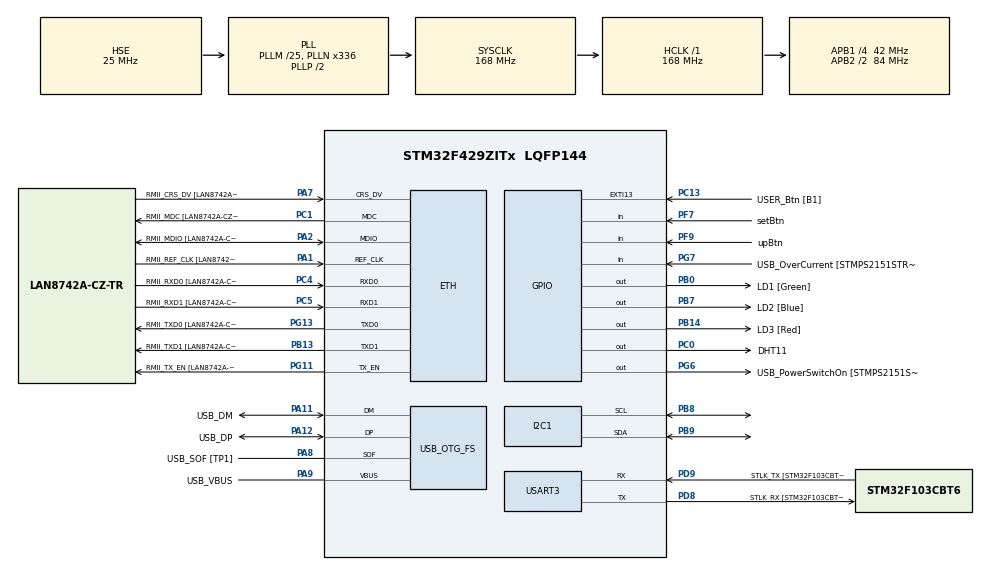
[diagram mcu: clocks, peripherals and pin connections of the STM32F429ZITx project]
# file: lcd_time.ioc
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ETH.MediaInterface=HAL_ETH_RMII_MODE
ETH.PHY_Name=LAN8742A_PHY_ADDRESS
ETH.PHY_Value=0
ETH.PhyAddress=0
Mcu.Family=STM32F4
Mcu.Name=STM32F429ZITx
Mcu.Package=LQFP144
NVIC.PriorityGroup=NVIC_PRIORITYGROUP_4
NVIC.RTC_Alarm_IRQn=true\:0\:0\:false\:true\:true\:1\:true\:true\:true
NVIC.TIM2_IRQn=true\:0\:0\:false\:true\:true\:2\:true\:true\:true
PA1.GPIO_Label=RMII_REF_CLK [LAN8742A-CZ-TR_REFCLK0]
PA1.Mode=RMII
PA1.Signal=ETH_REF_CLK
PA10.GPIO_Label=USB_ID
PA10.Signal=USB_OTG_FS_ID
PA11.GPIO_Label=USB_DM
PA11.Mode=Device_Only
PA11.Signal=USB_OTG_FS_DM
PA12.GPIO_Label=USB_DP
PA12.Mode=Device_Only
PA12.Signal=USB_OTG_FS_DP
PA13.GPIO_Label=TMS
PA13.Mode=Serial_Wire
PA13.Signal=SYS_JTMS-SWDIO
PA14.GPIO_Label=TCK
PA14.Mode=Serial_Wire
PA14.Signal=SYS_JTCK-SWCLK
PA2.GPIO_Label=RMII_MDIO [LAN8742A-CZ-TR_MDIO]
PA2.Mode=RMII
PA2.Signal=ETH_MDIO
PA7.GPIO_Label=RMII_CRS_DV [LAN8742A-CZ-TR_CRS_DV]
PA7.Mode=RMII
PA7.Signal=ETH_CRS_DV
PA8.GPIO_Label=USB_SOF [TP1]
PA8.Mode=Activate_SOF_FS
PA8.Signal=USB_OTG_FS_SOF
PA9.GPIO_Label=USB_VBUS
PA9.Mode=Activate_VBUS
PA9.Signal=USB_OTG_FS_VBUS
PB0.GPIO_Label=LD1 [Green]
PB0.Signal=GPIO_Output
PB13.GPIO_Label=RMII_TXD1 [LAN8742A-CZ-TR_TXD1]
PB13.Mode=RMII
PB13.Signal=ETH_TXD1
PB14.GPIO_Label=LD3 [Red]
PB14.Signal=GPIO_Output
PB7.GPIO_Label=LD2 [Blue]
PB7.Signal=GPIO_Output
PB8.Mode=I2C
PB8.Signal=I2C1_SCL
PB9.Mode=I2C
PB9.Signal=I2C1_SDA
PC0.GPIO_Label=DHT11
PC0.GPIO_Speed=GPIO_SPEED_FREQ_LOW
PC0.PinState=GPIO_PIN_SET
PC0.Signal=GPIO_Output
PC1.GPIO_Label=RMII_MDC [LAN8742A-CZ-TR_MDC]
PC1.Mode=RMII
PC1.Signal=ETH_MDC
PC13.GPIO_Label=USER_Btn [B1]
PC13.Signal=GPXTI13
PC14/OSC32_IN.Mode=LSE-External-Oscillator
PC14/OSC32_IN.Signal=RCC_OSC32_IN
PC15/OSC32_OUT.Mode=LSE-External-Oscillator
PC15/OSC32_OUT.Signal=RCC_OSC32_OUT
PC4.GPIO_Label=RMII_RXD0 [LAN8742A-CZ-TR_RXD0]
PC4.Mode=RMII
PC4.Signal=ETH_RXD0
PC5.GPIO_Label=RMII_RXD1 [LAN8742A-CZ-TR_RXD1]
PC5.Mode=RMII
PC5.Signal=ETH_RXD1
PD8.GPIO_Label=STLK_RX [STM32F103CBT6_PA3]
PD8.Mode=Asynchronous
PD8.Signal=USART3_TX
PD9.GPIO_Label=STLK_TX [STM32F103CBT6_PA2]
PD9.Mode=Asynchronous
PD9.Signal=USART3_RX
PF7.GPIO_Label=setBtn
PF7.GPIO_PuPd=GPIO_PULLUP
PF7.Signal=GPIO_Input
PF9.GPIO_Label=upBtn
PF9.GPIO_PuPd=GPIO_PULLUP
PF9.Signal=GPIO_Input
PG11.GPIO_Label=RMII_TX_EN [LAN8742A-CZ-TR_TXEN]
PG11.Mode=RMII
PG11.Signal=ETH_TX_EN
PG13.GPIO_Label=RMII_TXD0 [LAN8742A-CZ-TR_TXD0]
PG13.Mode=RMII
PG13.Signal=ETH_TXD0
PG6.GPIO_Label=USB_PowerSwitchOn [STMPS2151STR_EN]
PG6.Signal=GPIO_Output
PG7.GPIO_Label=USB_OverCurrent [STMPS2151STR_FAULT]
PG7.Signal=GPIO_Input
PH0/OSC_IN.GPIO_Label=MCO [STM32F103CBT6_PA8]
PH0/OSC_IN.Mode=HSE-External-Clock-Source
PH0/OSC_IN.Signal=RCC_OSC_IN
PH1/OSC_OUT.Mode=HSE-External-Clock-Source
PH1/OSC_OUT.Signal=RCC_OSC_OUT
ProjectManager.HeapSize=0x200
ProjectManager.StackSize=0x400
ProjectManager.TargetToolchain=STM32CubeIDE
RCC.48MHZClocksFreq_Value=48000000
RCC.AHBFreq_Value=168000000
RCC.APB1CLKDivider=RCC_HCLK_DIV4
RCC.APB1Freq_Value=42000000
RCC.APB1TimFreq_Value=84000000
RCC.APB2CLKDivider=RCC_HCLK_DIV2
RCC.APB2Freq_Value=84000000
RCC.APB2TimFreq_Value=168000000
RCC.CortexFreq_Value=168000000
RCC.HCLKFreq_Value=168000000
RCC.HSE_VALUE=25000000
RCC.HSI_VALUE=16000000
RCC.PLLM=25
RCC.PLLMUL=RCC_PLL_MUL9
RCC.PLLN=336
RCC.PLLQ=7
RCC.PRESCALERUSB=RCC_USBCLKSOURCE_PLL_DIV1_5
RCC.RCC_RTC_Clock_Source=RCC_RTCCLKSOURCE_LSE
RCC.RCC_RTC_Clock_SourceVirtual=RCC_RTCCLKSOURCE_LSE
RCC.SYSCLKFreq_VALUE=168000000
RCC.SYSCLKSource=RCC_SYSCLKSOURCE_PLLCLK
RCC.SYSCLKSourceVirtual=RCC_SYSCLKSOURCE_PLLCLK
RCC.USBFreq_Value=48000000
RCC.VCOOutputFreq_Value=336000000
RTC.Alarm=RTC_ALARM_A
RTC.HourFormat=RTC_HOURFORMAT_12
RTC.Hours=12
RTC.TimeFormat=RTC_HOURFORMAT12_PM
RTC.Year=23
TIM1.Period=0xffff-1
TIM1.Prescaler=168-1
TIM2.Period=50000-1
TIM2.Prescaler=8400-1
USART3.VirtualMode=VM_ASYNC
USB_OTG_FS.VirtualMode=Device_Only
VP_RTC_VS_RTC_Activate.Mode=RTC_Enabled
VP_RTC_VS_RTC_Alarm_A_Intern.Mode=Alarm A
VP_RTC_VS_RTC_Calendar.Mode=RTC_Calendar
VP_TIM1_VS_ClockSourceINT.Mode=Internal
VP_TIM2_VS_ClockSourceINT.Mode=Internal
board=NUCLEO-F429ZI

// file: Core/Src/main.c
/* USER CODE BEGIN Header */
/**
  ******************************************************************************
  * @file           : main.c
  * @brief          : Main program body
  ******************************************************************************
  * @attention
  *
  * Copyright (c) 2023 STMicroelectronics.
  * All rights reserved.
  *
  * This software is licensed under terms that can be found in the LICENSE file
  * in the root directory of this software component.
  * If no LICENSE file comes with this software, it is provided AS-IS.
  *
  ******************************************************************************
  */
/* USER CODE END Header */
#include "main.h"
#include "string.h"

/* USER CODE BEGIN Includes */
#include "stdio.h"
#include "string.h"
/* USER CODE END Includes */

ETH_TxPacketConfig TxConfig;
ETH_DMADescTypeDef  DMARxDscrTab[ETH_RX_DESC_CNT]; /* Ethernet Rx DMA Descriptors */
ETH_DMADescTypeDef  DMATxDscrTab[ETH_TX_DESC_CNT]; /* Ethernet Tx DMA Descriptors */

ETH_HandleTypeDef heth;

I2C_HandleTypeDef hi2c1;

RTC_HandleTypeDef hrtc;

TIM_HandleTypeDef htim1;
TIM_HandleTypeDef htim2;

UART_HandleTypeDef huart3;

PCD_HandleTypeDef hpcd_USB_OTG_FS;

/* USER CODE BEGIN PV */
RTC_DateTypeDef sDate;
RTC_TimeTypeDef sTime;
char showTime[30] = {0};
char showDate[30] = {0};
char ampm[2][3] = {"AM", "PM"};
/* USER CODE END PV */

void SystemClock_Config(void);
static void MX_GPIO_Init(void);
static void MX_ETH_Init(void);
static void MX_USART3_UART_Init(void);
static void MX_USB_OTG_FS_PCD_Init(void);
static void MX_I2C1_Init(void);
static void MX_RTC_Init(void);
static void MX_TIM2_Init(void);
static void MX_TIM1_Init(void);
static void MX_NVIC_Init(void);
/* USER CODE BEGIN PFP */
int _write(int file, char *ptr, int len) {
	HAL_UART_Transmit(&huart3, (uint8_t *)ptr, len, 500);
	return len;
}

int __io_putchar(int ch) {
	HAL_UART_Transmit(&huart3, (uint8_t *)&ch, 1, 1000);
	return ch;
}
/* USER CODE END PFP */

/* USER CODE BEGIN 0 */
void LCD_Init(uint8_t lcd_addr);
void LCD_SendString(uint8_t lcd_addr, char *str);
void LCD_SendCommand(uint8_t lcd_addr, uint8_t cmd);
extern void I2C_Scan(void);
void init();

#define LCD_ADDR (0x27 << 1)

void get_time(void) {
	HAL_RTC_GetTime(&hrtc, &sTime, RTC_FORMAT_BIN);
	HAL_RTC_GetDate(&hrtc, &sDate, RTC_FORMAT_BIN);

	sprintf((char *)showTime, "%s %02d : %02d : %02d", ampm[sTime.TimeFormat], sTime.Hours, sTime.Minutes, sTime.Seconds);
	sprintf((char *)showDate, "%04d-%02d-%02d", 2000 + sDate.Year, sDate.Month, sDate.Date);
}

//void set_time(uint8_t hh, uint8_t mm, uint8_t ss) {
//	RTC_TimeTypeDef sTime;
//
//	sTime.Hours = hh; // set hours
//	sTime.Minutes = mm; // set minutes
//	sTime.Seconds = ss; // set seconds
//
//	HAL_RTC_SetTime(&hrtc, &sTime, RTC_FORMAT_BIN);
//}

void set_Date(uint8_t ww, uint8_t mm, uint8_t dd, uint8_t yy) {
	RTC_DateTypeDef sDate;

	sDate.WeekDay = ww; // date RTC_WEEKDAY_THURSDAY
	sDate.Month = mm; // month RTC_MONTH_FEBRUARY
	sDate.Date = dd; // date
	sDate.Year = yy; // year

	HAL_RTC_SetDate(&hrtc, &sDate, RTC_FORMAT_BIN);
}

uint8_t Rh_byte1, Rh_byte2, Temp_byte1, Temp_byte2;
uint16_t SUM, RH, TEMP;

float Temperature = 0;
float Humidity = 0;
uint8_t Presence = 0;

void delay_us(uint16_t time) {
	__HAL_TIM_SET_COUNTER(&htim1, 0);              // ???��머�?? 0?���??????????? 초기?��
	while((__HAL_TIM_GET_COUNTER(&htim1))<time);   // ?��?��?�� ?��간까�??????????? ??�???????????
}
void Set_Pin_Output (GPIO_TypeDef *GPIOx, uint16_t GPIO_Pin)
{
	GPIO_InitTypeDef GPIO_InitStruct = {0};
	GPIO_InitStruct.Pin = GPIO_Pin;
	GPIO_InitStruct.Mode = GPIO_MODE_OUTPUT_PP;
	GPIO_InitStruct.Speed = GPIO_SPEED_FREQ_LOW;
	HAL_GPIO_Init(GPIOx, &GPIO_InitStruct);
}

void Set_Pin_Input (GPIO_TypeDef *GPIOx, uint16_t GPIO_Pin)
{
	GPIO_InitTypeDef GPIO_InitStruct = {0};
	GPIO_InitStruct.Pin = GPIO_Pin;
	GPIO_InitStruct.Mode = GPIO_MODE_INPUT;
	GPIO_InitStruct.Pull = GPIO_PULLUP;
	HAL_GPIO_Init(GPIOx, &GPIO_InitStruct);
}
void DHT11_Start (void)
{
	Set_Pin_Output (DHT11_GPIO_Port, DHT11_Pin);  // set the pin as output
	HAL_GPIO_WritePin (DHT11_GPIO_Port, DHT11_Pin, 0);   // pull the pin low
	delay_us(18000);   // wait for 18ms
	Set_Pin_Input(DHT11_GPIO_Port, DHT11_Pin);    // set as input
}
uint8_t DHT11_Check_Response (void)
{
	uint8_t Response = 0;
	delay_us (40);
	if (!(HAL_GPIO_ReadPin (DHT11_GPIO_Port, DHT11_Pin)))
	{
		delay_us (80);
		if ((HAL_GPIO_ReadPin (DHT11_GPIO_Port, DHT11_Pin))) Response = 1;
		else Response = -1;
	}
	while ((HAL_GPIO_ReadPin (DHT11_GPIO_Port, DHT11_Pin)));   // wait for the pin to go low

	return Response;
}
uint8_t DHT11_Read (void)
{
	uint8_t i,j;
	for (j=0;j<8;j++)
	{
		while (!(HAL_GPIO_ReadPin (DHT11_GPIO_Port, DHT11_Pin)));   // wait for the pin to go high
		delay_us (40);   // wait for 40 us
		if (!(HAL_GPIO_ReadPin (DHT11_GPIO_Port, DHT11_Pin)))   // if the pin is low
		{
			i&= ~(1<<(7-j));   // write 0
		}
		else i|= (1<<(7-j));  // if the pin is high, write 1
		while ((HAL_GPIO_ReadPin (DHT11_GPIO_Port, DHT11_Pin)));  // wait for the pin to go low
	}
	return i;
}
/* USER CODE END 0 */

int main(void)
{

  /* MCU Configuration--------------------------------------------------------*/

  /* Reset of all peripherals, Initializes the Flash interface and the Systick. */
  HAL_Init();

  /* Configure the system clock */
  SystemClock_Config();

  /* Initialize all configured peripherals */
  MX_GPIO_Init();
  MX_ETH_Init();
  MX_USART3_UART_Init();
  MX_USB_OTG_FS_PCD_Init();
  MX_I2C1_Init();
  MX_RTC_Init();
  MX_TIM2_Init();
  MX_TIM1_Init();

  /* Initialize interrupts */
  MX_NVIC_Init();
  /* USER CODE BEGIN 2 */
//  set_time(11, 59, 50);
  set_Date(RTC_WEEKDAY_MONDAY, 10, 27, 23);
  HAL_TIM_Base_Start(&htim1);
//	init();

	I2C_Scan();
	LCD_Init(LCD_ADDR);
	int setmode = 0;

	uint32_t current_tick_1;
	uint32_t current_tick_2;
	uint32_t old_tick_1;
	uint32_t old_tick_2;

	void setModeCheck(int n) {
		if (n == 1) {
			HAL_GPIO_WritePin(GPIOB, LD1_Pin, 1);
			HAL_GPIO_WritePin(GPIOB, LD2_Pin, 0);
			HAL_GPIO_WritePin(GPIOB, LD3_Pin, 0);
		}
		else if (n == 2) {
			HAL_GPIO_WritePin(GPIOB, LD1_Pin, 0);
			HAL_GPIO_WritePin(GPIOB, LD2_Pin, 1);
			HAL_GPIO_WritePin(GPIOB, LD3_Pin, 0);
		}
		else if (n == 3) {
			HAL_GPIO_WritePin(GPIOB, LD1_Pin, 0);
			HAL_GPIO_WritePin(GPIOB, LD2_Pin, 0);
			HAL_GPIO_WritePin(GPIOB, LD3_Pin, 1);
		}
		else {
			HAL_GPIO_WritePin(GPIOB, LD3_Pin, 0);
		}
	}
	HAL_TIM_Base_Start(&htim2);

  /* USER CODE END 2 */

  /* Infinite loop */
  /* USER CODE BEGIN WHILE */
  while (1)
  {
	setModeCheck(setmode);
	get_time();
	if (setmode != -1) {
		// set address to 0x00
		LCD_SendCommand(LCD_ADDR, 0b10000000);
		LCD_SendString(LCD_ADDR, showDate);

		// set address to 0x40
		LCD_SendCommand(LCD_ADDR, 0b11000000);
		LCD_SendString(LCD_ADDR, showTime);

		if (HAL_GPIO_ReadPin(GPIOF, setBtn_Pin) == 0) {
			current_tick_1 = HAL_GetTick();
		}
		if (HAL_GPIO_ReadPin(GPIOF, upBtn_Pin) == 0) {
			current_tick_2 = HAL_GetTick();
		}

		if (HAL_GPIO_ReadPin(GPIOF, setBtn_Pin) == 0 && (current_tick_1 - old_tick_1 > 300) ) {
			  setmode++;
			  if (setmode == 4) setmode = 0;
			  old_tick_1 = current_tick_1;
		}

		if (setmode == 0) {
	//		HAL_Delay(1000);
		}
		else if (HAL_GPIO_ReadPin(GPIOF, upBtn_Pin) == 0 && (current_tick_2 - old_tick_2 > 300)) {
			if (setmode == 1) sTime.Hours = (sTime.Hours + 1) % 13;
			if (setmode == 2) sTime.Minutes = (sTime.Minutes + 1) % 60;
			if (setmode == 3) sTime.Seconds = (sTime.Seconds + 1) % 60;

			HAL_RTC_SetTime(&hrtc, &sTime, RTC_FORMAT_BIN);
			old_tick_2 = current_tick_2;
	   }

	}

    /* USER CODE END WHILE */

  }
}

void SystemClock_Config(void)
{
  RCC_OscInitTypeDef RCC_OscInitStruct = {0};
  RCC_ClkInitTypeDef RCC_ClkInitStruct = {0};

  /** Configure the main internal regulator output voltage
  */
  __HAL_RCC_PWR_CLK_ENABLE();
  __HAL_PWR_VOLTAGESCALING_CONFIG(PWR_REGULATOR_VOLTAGE_SCALE1);

  /** Initializes the RCC Oscillators according to the specified parameters
  * in the RCC_OscInitTypeDef structure.
  */
  RCC_OscInitStruct.OscillatorType = RCC_OSCILLATORTYPE_HSE|RCC_OSCILLATORTYPE_LSE;
  RCC_OscInitStruct.HSEState = RCC_HSE_BYPASS;
  RCC_OscInitStruct.LSEState = RCC_LSE_ON;
  RCC_OscInitStruct.PLL.PLLState = RCC_PLL_ON;
  RCC_OscInitStruct.PLL.PLLSource = RCC_PLLSOURCE_HSE;
  RCC_OscInitStruct.PLL.PLLM = 25;
  RCC_OscInitStruct.PLL.PLLN = 336;
  RCC_OscInitStruct.PLL.PLLP = RCC_PLLP_DIV2;
  RCC_OscInitStruct.PLL.PLLQ = 7;
  if (HAL_RCC_OscConfig(&RCC_OscInitStruct) != HAL_OK)
  {
    Error_Handler();
  }

  /** Initializes the CPU, AHB and APB buses clocks
  */
  RCC_ClkInitStruct.ClockType = RCC_CLOCKTYPE_HCLK|RCC_CLOCKTYPE_SYSCLK
                              |RCC_CLOCKTYPE_PCLK1|RCC_CLOCKTYPE_PCLK2;
  RCC_ClkInitStruct.SYSCLKSource = RCC_SYSCLKSOURCE_PLLCLK;
  RCC_ClkInitStruct.AHBCLKDivider = RCC_SYSCLK_DIV1;
  RCC_ClkInitStruct.APB1CLKDivider = RCC_HCLK_DIV4;
  RCC_ClkInitStruct.APB2CLKDivider = RCC_HCLK_DIV2;

  if (HAL_RCC_ClockConfig(&RCC_ClkInitStruct, FLASH_LATENCY_5) != HAL_OK)
  {
    Error_Handler();
  }
}

/**
  * @brief NVIC Configuration.
  * @retval None
  */
static void MX_NVIC_Init(void)
{
  /* RTC_Alarm_IRQn interrupt configuration */
  HAL_NVIC_SetPriority(RTC_Alarm_IRQn, 0, 0);
  HAL_NVIC_EnableIRQ(RTC_Alarm_IRQn);
  /* TIM2_IRQn interrupt configuration */
  HAL_NVIC_SetPriority(TIM2_IRQn, 0, 0);
  HAL_NVIC_EnableIRQ(TIM2_IRQn);
}

static void MX_ETH_Init(void)
{

   static uint8_t MACAddr[6];

  heth.Instance = ETH;
  MACAddr[0] = 0x00;
  MACAddr[1] = 0x80;
  MACAddr[2] = 0xE1;
  MACAddr[3] = 0x00;
  MACAddr[4] = 0x00;
  MACAddr[5] = 0x00;
  heth.Init.MACAddr = &MACAddr[0];
  heth.Init.MediaInterface = HAL_ETH_RMII_MODE;
  heth.Init.TxDesc = DMATxDscrTab;
  heth.Init.RxDesc = DMARxDscrTab;
  heth.Init.RxBuffLen = 1524;

  if (HAL_ETH_Init(&heth) != HAL_OK)
  {
    Error_Handler();
  }

  memset(&TxConfig, 0 , sizeof(ETH_TxPacketConfig));
  TxConfig.Attributes = ETH_TX_PACKETS_FEATURES_CSUM | ETH_TX_PACKETS_FEATURES_CRCPAD;
  TxConfig.ChecksumCtrl = ETH_CHECKSUM_IPHDR_PAYLOAD_INSERT_PHDR_CALC;
  TxConfig.CRCPadCtrl = ETH_CRC_PAD_INSERT;

}

static void MX_I2C1_Init(void)
{

  hi2c1.Instance = I2C1;
  hi2c1.Init.ClockSpeed = 100000;
  hi2c1.Init.DutyCycle = I2C_DUTYCYCLE_2;
  hi2c1.Init.OwnAddress1 = 0;
  hi2c1.Init.AddressingMode = I2C_ADDRESSINGMODE_7BIT;
  hi2c1.Init.DualAddressMode = I2C_DUALADDRESS_DISABLE;
  hi2c1.Init.OwnAddress2 = 0;
  hi2c1.Init.GeneralCallMode = I2C_GENERALCALL_DISABLE;
  hi2c1.Init.NoStretchMode = I2C_NOSTRETCH_DISABLE;
  if (HAL_I2C_Init(&hi2c1) != HAL_OK)
  {
    Error_Handler();
  }

  /** Configure Analogue filter
  */
  if (HAL_I2CEx_ConfigAnalogFilter(&hi2c1, I2C_ANALOGFILTER_ENABLE) != HAL_OK)
  {
    Error_Handler();
  }

  /** Configure Digital filter
  */
  if (HAL_I2CEx_ConfigDigitalFilter(&hi2c1, 0) != HAL_OK)
  {
    Error_Handler();
  }

}

static void MX_RTC_Init(void)
{

  RTC_TimeTypeDef sTime = {0};
  RTC_DateTypeDef sDate = {0};
  RTC_AlarmTypeDef sAlarm = {0};

  /** Initialize RTC Only
  */
  hrtc.Instance = RTC;
  hrtc.Init.HourFormat = RTC_HOURFORMAT_12;
  hrtc.Init.AsynchPrediv = 127;
  hrtc.Init.SynchPrediv = 255;
  hrtc.Init.OutPut = RTC_OUTPUT_DISABLE;
  hrtc.Init.OutPutPolarity = RTC_OUTPUT_POLARITY_HIGH;
  hrtc.Init.OutPutType = RTC_OUTPUT_TYPE_OPENDRAIN;
  if (HAL_RTC_Init(&hrtc) != HAL_OK)
  {
    Error_Handler();
  }

  /** Initialize RTC and set the Time and Date
  */
  sTime.Hours = 0x12;
  sTime.Minutes = 0x0;
  sTime.Seconds = 0x0;
  sTime.TimeFormat = RTC_HOURFORMAT12_PM;
  sTime.DayLightSaving = RTC_DAYLIGHTSAVING_NONE;
  sTime.StoreOperation = RTC_STOREOPERATION_RESET;
  if (HAL_RTC_SetTime(&hrtc, &sTime, RTC_FORMAT_BCD) != HAL_OK)
  {
    Error_Handler();
  }
  sDate.WeekDay = RTC_WEEKDAY_MONDAY;
  sDate.Month = RTC_MONTH_JANUARY;
  sDate.Date = 0x1;
  sDate.Year = 0x23;

  if (HAL_RTC_SetDate(&hrtc, &sDate, RTC_FORMAT_BCD) != HAL_OK)
  {
    Error_Handler();
  }

  /** Enable the Alarm A
  */
  sAlarm.AlarmTime.Hours = 0x1;
  sAlarm.AlarmTime.Minutes = 0x0;
  sAlarm.AlarmTime.Seconds = 0x0;
  sAlarm.AlarmTime.SubSeconds = 0x0;
  sAlarm.AlarmTime.TimeFormat = RTC_HOURFORMAT12_PM;
  sAlarm.AlarmTime.DayLightSaving = RTC_DAYLIGHTSAVING_NONE;
  sAlarm.AlarmTime.StoreOperation = RTC_STOREOPERATION_RESET;
  sAlarm.AlarmMask = RTC_ALARMMASK_NONE;
  sAlarm.AlarmSubSecondMask = RTC_ALARMSUBSECONDMASK_ALL;
  sAlarm.AlarmDateWeekDaySel = RTC_ALARMDATEWEEKDAYSEL_DATE;
  sAlarm.AlarmDateWeekDay = 0x1;
  sAlarm.Alarm = RTC_ALARM_A;
  if (HAL_RTC_SetAlarm_IT(&hrtc, &sAlarm, RTC_FORMAT_BCD) != HAL_OK)
  {
    Error_Handler();
  }

}

static void MX_TIM1_Init(void)
{

  TIM_ClockConfigTypeDef sClockSourceConfig = {0};
  TIM_MasterConfigTypeDef sMasterConfig = {0};

  htim1.Instance = TIM1;
  htim1.Init.Prescaler = 168-1;
  htim1.Init.CounterMode = TIM_COUNTERMODE_UP;
  htim1.Init.Period = 0xffff-1;
  htim1.Init.ClockDivision = TIM_CLOCKDIVISION_DIV1;
  htim1.Init.RepetitionCounter = 0;
  htim1.Init.AutoReloadPreload = TIM_AUTORELOAD_PRELOAD_DISABLE;
  if (HAL_TIM_Base_Init(&htim1) != HAL_OK)
  {
    Error_Handler();
  }
  sClockSourceConfig.ClockSource = TIM_CLOCKSOURCE_INTERNAL;
  if (HAL_TIM_ConfigClockSource(&htim1, &sClockSourceConfig) != HAL_OK)
  {
    Error_Handler();
  }
  sMasterConfig.MasterOutputTrigger = TIM_TRGO_RESET;
  sMasterConfig.MasterSlaveMode = TIM_MASTERSLAVEMODE_DISABLE;
  if (HAL_TIMEx_MasterConfigSynchronization(&htim1, &sMasterConfig) != HAL_OK)
  {
    Error_Handler();
  }

}

static void MX_TIM2_Init(void)
{

  TIM_ClockConfigTypeDef sClockSourceConfig = {0};
  TIM_MasterConfigTypeDef sMasterConfig = {0};

  htim2.Instance = TIM2;
  htim2.Init.Prescaler = 8400-1;
  htim2.Init.CounterMode = TIM_COUNTERMODE_UP;
  htim2.Init.Period = 50000-1;
  htim2.Init.ClockDivision = TIM_CLOCKDIVISION_DIV1;
  htim2.Init.AutoReloadPreload = TIM_AUTORELOAD_PRELOAD_DISABLE;
  if (HAL_TIM_Base_Init(&htim2) != HAL_OK)
  {
    Error_Handler();
  }
  sClockSourceConfig.ClockSource = TIM_CLOCKSOURCE_INTERNAL;
  if (HAL_TIM_ConfigClockSource(&htim2, &sClockSourceConfig) != HAL_OK)
  {
    Error_Handler();
  }
  sMasterConfig.MasterOutputTrigger = TIM_TRGO_RESET;
  sMasterConfig.MasterSlaveMode = TIM_MASTERSLAVEMODE_DISABLE;
  if (HAL_TIMEx_MasterConfigSynchronization(&htim2, &sMasterConfig) != HAL_OK)
  {
    Error_Handler();
  }

}

static void MX_USART3_UART_Init(void)
{

  huart3.Instance = USART3;
  huart3.Init.BaudRate = 115200;
  huart3.Init.WordLength = UART_WORDLENGTH_8B;
  huart3.Init.StopBits = UART_STOPBITS_1;
  huart3.Init.Parity = UART_PARITY_NONE;
  huart3.Init.Mode = UART_MODE_TX_RX;
  huart3.Init.HwFlowCtl = UART_HWCONTROL_NONE;
  huart3.Init.OverSampling = UART_OVERSAMPLING_16;
  if (HAL_UART_Init(&huart3) != HAL_OK)
  {
    Error_Handler();
  }

}

static void MX_USB_OTG_FS_PCD_Init(void)
{

  hpcd_USB_OTG_FS.Instance = USB_OTG_FS;
  hpcd_USB_OTG_FS.Init.dev_endpoints = 4;
  hpcd_USB_OTG_FS.Init.speed = PCD_SPEED_FULL;
  hpcd_USB_OTG_FS.Init.dma_enable = DISABLE;
  hpcd_USB_OTG_FS.Init.phy_itface = PCD_PHY_EMBEDDED;
  hpcd_USB_OTG_FS.Init.Sof_enable = ENABLE;
  hpcd_USB_OTG_FS.Init.low_power_enable = DISABLE;
  hpcd_USB_OTG_FS.Init.lpm_enable = DISABLE;
  hpcd_USB_OTG_FS.Init.vbus_sensing_enable = ENABLE;
  hpcd_USB_OTG_FS.Init.use_dedicated_ep1 = DISABLE;
  if (HAL_PCD_Init(&hpcd_USB_OTG_FS) != HAL_OK)
  {
    Error_Handler();
  }

}

static void MX_GPIO_Init(void)
{
  GPIO_InitTypeDef GPIO_InitStruct = {0};

  /* GPIO Ports Clock Enable */
  __HAL_RCC_GPIOC_CLK_ENABLE();
  __HAL_RCC_GPIOF_CLK_ENABLE();
  __HAL_RCC_GPIOH_CLK_ENABLE();
  __HAL_RCC_GPIOA_CLK_ENABLE();
  __HAL_RCC_GPIOB_CLK_ENABLE();
  __HAL_RCC_GPIOD_CLK_ENABLE();
  __HAL_RCC_GPIOG_CLK_ENABLE();

  /*Configure GPIO pin Output Level */
  HAL_GPIO_WritePin(DHT11_GPIO_Port, DHT11_Pin, GPIO_PIN_SET);

  /*Configure GPIO pin Output Level */
  HAL_GPIO_WritePin(GPIOB, LD1_Pin|LD3_Pin|LD2_Pin, GPIO_PIN_RESET);

  /*Configure GPIO pin Output Level */
  HAL_GPIO_WritePin(USB_PowerSwitchOn_GPIO_Port, USB_PowerSwitchOn_Pin, GPIO_PIN_RESET);

  /*Configure GPIO pin : USER_Btn_Pin */
  GPIO_InitStruct.Pin = USER_Btn_Pin;
  GPIO_InitStruct.Mode = GPIO_MODE_IT_RISING;
  GPIO_InitStruct.Pull = GPIO_NOPULL;
  HAL_GPIO_Init(USER_Btn_GPIO_Port, &GPIO_InitStruct);

  /*Configure GPIO pins : setBtn_Pin upBtn_Pin */
  GPIO_InitStruct.Pin = setBtn_Pin|upBtn_Pin;
  GPIO_InitStruct.Mode = GPIO_MODE_INPUT;
  GPIO_InitStruct.Pull = GPIO_PULLUP;
  HAL_GPIO_Init(GPIOF, &GPIO_InitStruct);

  /*Configure GPIO pin : DHT11_Pin */
  GPIO_InitStruct.Pin = DHT11_Pin;
  GPIO_InitStruct.Mode = GPIO_MODE_OUTPUT_PP;
  GPIO_InitStruct.Pull = GPIO_NOPULL;
  GPIO_InitStruct.Speed = GPIO_SPEED_FREQ_LOW;
  HAL_GPIO_Init(DHT11_GPIO_Port, &GPIO_InitStruct);

  /*Configure GPIO pins : LD1_Pin LD3_Pin LD2_Pin */
  GPIO_InitStruct.Pin = LD1_Pin|LD3_Pin|LD2_Pin;
  GPIO_InitStruct.Mode = GPIO_MODE_OUTPUT_PP;
  GPIO_InitStruct.Pull = GPIO_NOPULL;
  GPIO_InitStruct.Speed = GPIO_SPEED_FREQ_LOW;
  HAL_GPIO_Init(GPIOB, &GPIO_InitStruct);

  /*Configure GPIO pin : USB_PowerSwitchOn_Pin */
  GPIO_InitStruct.Pin = USB_PowerSwitchOn_Pin;
  GPIO_InitStruct.Mode = GPIO_MODE_OUTPUT_PP;
  GPIO_InitStruct.Pull = GPIO_NOPULL;
  GPIO_InitStruct.Speed = GPIO_SPEED_FREQ_LOW;
  HAL_GPIO_Init(USB_PowerSwitchOn_GPIO_Port, &GPIO_InitStruct);

  /*Configure GPIO pin : USB_OverCurrent_Pin */
  GPIO_InitStruct.Pin = USB_OverCurrent_Pin;
  GPIO_InitStruct.Mode = GPIO_MODE_INPUT;
  GPIO_InitStruct.Pull = GPIO_NOPULL;
  HAL_GPIO_Init(USB_OverCurrent_GPIO_Port, &GPIO_InitStruct);

}

/* USER CODE BEGIN 4 */
void HAL_TIM_PeriodElapsedCallback(TIM_HandleTypeDef *htim) {
	if (htim == &htim2) HAL_GPIO_TogglePin(GPIOB, LD1_Pin);
}
/* USER CODE END 4 */

void Error_Handler(void)
{
  __disable_irq();
  while (1)
  {
  }
}
